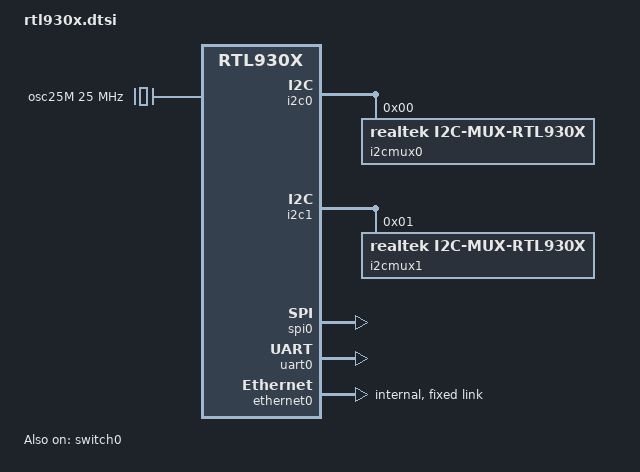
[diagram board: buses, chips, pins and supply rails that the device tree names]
// SPDX-License-Identifier: GPL-2.0-or-later OR MIT

/dts-v1/;

#include <dt-bindings/clock/rtl83xx-clk.h>
#include <dt-bindings/gpio/gpio.h>
#include <dt-bindings/input/input.h>
#include <dt-bindings/leds/common.h>

/ {
	#address-cells = <1>;
	#size-cells = <1>;

	compatible = "realtek,rtl930x-soc";

	ccu: clock-controller {
		compatible = "realtek,rtl930x-clock";
		#clock-cells = <1>;
		clocks = <&osc25M>;
		clock-names = "ref_clk";
		pll-reclock-sram = <&sram0>;
	};

	cpus {
		#address-cells = <1>;
		#size-cells = <0>;

		cpu@0 {
			compatible = "mips,mips34Kc";
			reg = <0>;
			clocks = <&ccu CLK_CPU>;
			operating-points-v2 = <&cpu_opp_table>;
		};

		cpu@1 {
			compatible = "mips,mips34Kc";
			reg = <1>;
			clocks = <&ccu CLK_CPU>;
			operating-points-v2 = <&cpu_opp_table>;
		};
	};

	cpu_opp_table: opp-table-0 {
		compatible = "operating-points-v2";
		opp-shared;

		opp00 {
			opp-hz = /bits/ 64 <625000000>;
		};
		opp01 {
			opp-hz = /bits/ 64 <650000000>;
		};
		opp02 {
			opp-hz = /bits/ 64 <675000000>;
		};
		opp03 {
			opp-hz = /bits/ 64 <700000000>;
		};
		opp04 {
			opp-hz = /bits/ 64 <725000000>;
		};
		opp05 {
			opp-hz = /bits/ 64 <750000000>;
		};
		opp06 {
			opp-hz = /bits/ 64 <775000000>;
		};
		opp07 {
			opp-hz = /bits/ 64 <800000000>;
		};
	};

	aliases {
		serial0 = &uart0;
		serial1 = &uart1;

		led-boot = &status_led;
		led-failsafe = &status_led;
		led-running = &status_led;
		led-upgrade = &status_led;
	};

	chosen {
		bootargs = "earlycon";
		stdout-path = "serial0:115200n8";
	};

	cpuintc: cpuintc {
		compatible = "mti,cpu-interrupt-controller";
		#address-cells = <0>;
		#interrupt-cells = <1>;
		interrupt-controller;
	};

	keys {
		compatible = "gpio-keys";

		reset_button: reset {
			label = "reset";
			linux,code = <KEY_RESTART>;

			status = "disabled";
		};
	};

	leds {
		compatible = "gpio-leds";

		pinctrl-names = "default";
		pinctrl-0 = <&pinmux_disable_sys_led>;

		status_led: led_status {
			color = <LED_COLOR_ID_GREEN>;
			function = LED_FUNCTION_STATUS;
			gpios = <&gpio0 0 GPIO_ACTIVE_HIGH>;
			panic-indicator;

			status = "disabled";
		};
	};

	soc: soc {
		compatible = "simple-bus";
		#address-cells = <1>;
		#size-cells = <1>;
		ranges = <0x0 0x18000000 0x10000>;

		crypto0: crypto@c000 {
			compatible = "realtek,realtek-crypto";
			reg = <0xc000 0x10>;
			interrupt-parent = <&intc>;
			interrupts = <22 3>;
		};

		i2c0: i2c0@1b00036c {
			reg = <0x1b00036c 0x30>;
			compatible = "realtek,rtl930x-i2c";
			#address-cells = <1>;
			#size-cells = <0>;
			scl-pin = <8>;

			status = "disabled";
		};

		i2c1: i2c1@1b000388 {
			reg = <0x1b00036c 0x30>;
			compatible = "realtek,rtl930x-i2c";
			#address-cells = <1>;
			#size-cells = <1>;
			scl-pin = <17>;

			status = "disabled";
		};

		i2cmux0: i2cmux@0 {
			reg = <0>;
			compatible = "realtek,i2c-mux-rtl930x";
			#address-cells = <1>;
			#size-cells = <0>;
			i2c-parent = <&i2c0>;

			i2c0_0: i2c0@0 {
				reg = <0>;
				#address-cells = <1>;
				#size-cells = <0>;

				sda-pin = <9>;
				status = "disabled";
			};

			i2c0_1: i2c0@1 {
				reg = <1>;
				#address-cells = <1>;
				#size-cells = <0>;

				sda-pin = <10>;
				status = "disabled";
			};

			i2c0_2: i2c0@2 {
				reg = <2>;
				#address-cells = <1>;
				#size-cells = <0>;

				sda-pin = <11>;
				status = "disabled";
			};

			i2c0_3: i2c0@3 {
				reg = <3>;
				#address-cells = <1>;
				#size-cells = <0>;

				sda-pin = <12>;
				status = "disabled";
			};

			i2c0_4: i2c0@4 {
				reg = <4>;
				#address-cells = <1>;
				#size-cells = <0>;

				sda-pin = <13>;
				status = "disabled";
			};

			i2c0_5: i2c0@5 {
				reg = <5>;
				#address-cells = <1>;
				#size-cells = <0>;

				sda-pin = <14>;
				status = "disabled";
			};

			i2c0_6: i2c0@6 {
				reg = <6>;
				#address-cells = <1>;
				#size-cells = <0>;

				sda-pin = <15>;
				status = "disabled";
			};

			i2c0_7: i2c0@7 {
				reg = <7>;
				#address-cells = <1>;
				#size-cells = <0>;

				sda-pin = <16>;
				status = "disabled";
			};
		};

		i2cmux1: i2cmux@1 {
			reg = <1>;
			compatible = "realtek,i2c-mux-rtl930x";
			#address-cells = <1>;
			#size-cells = <0>;
			i2c-parent = <&i2c1>;

			i2c1_0: i2c1@0 {
				reg = <0>;
				#address-cells = <1>;
				#size-cells = <0>;

				sda-pin = <9>;
				status = "disabled";
			};

			i2c1_1: i2c1@1 {
				reg = <1>;
				#address-cells = <1>;
				#size-cells = <0>;

				sda-pin = <10>;
				status = "disabled";
			};

			i2c1_2: i2c1@2 {
				reg = <2>;
				#address-cells = <1>;
				#size-cells = <0>;

				sda-pin = <11>;
				status = "disabled";
			};

			i2c1_3: i2c1@3 {
				reg = <3>;
				#address-cells = <1>;
				#size-cells = <0>;

				sda-pin = <12>;
				status = "disabled";
			};

			i2c1_4: i2c1@4 {
				reg = <4>;
				#address-cells = <1>;
				#size-cells = <0>;

				sda-pin = <13>;
				status = "disabled";
			};

			i2c1_5: i2c0@5 {
				reg = <5>;
				#address-cells = <1>;
				#size-cells = <0>;

				sda-pin = <14>;
				status = "disabled";
			};

			i2c1_6: i2c1@6 {
				reg = <6>;
				#address-cells = <1>;
				#size-cells = <0>;

				sda-pin = <15>;
				status = "disabled";
			};

			i2c1_7: i2c1@7 {
				reg = <7>;
				#address-cells = <1>;
				#size-cells = <0>;

				sda-pin = <16>;
				status = "disabled";
			};
		};

		intc: interrupt-controller@3000 {
			compatible = "realtek,rtl9300-intc", "realtek,rtl-intc";
			reg = <0x3000 0x18>, <0x3018 0x18>;
			interrupt-controller;
			#interrupt-cells = <2>;

			interrupt-parent = <&cpuintc>;
			interrupts = <2>, <3>, <4>, <5>, <6>, <7>;
		};

		spi0: spi@1200 {
			compatible = "realtek,rtl8380-spi";
			reg = <0x1200 0x100>;

			#address-cells = <1>;
			#size-cells = <0>;
		};

		timer0: timer@3200 {
			compatible = "realtek,rtl930x-timer", "realtek,otto-timer";
			reg = <0x3200 0x10>, <0x3210 0x10>, <0x3220 0x10>,
			      <0x3230 0x10>, <0x3240 0x10>;

			interrupt-parent = <&intc>;
			interrupts = <7 4>, <8 4>, <9 4>, <10 4>, <11 4>;
			clocks = <&ccu CLK_LXB>;
		};

		uart0: uart@2000 {
			compatible = "ns16550a";
			reg = <0x2000 0x100>;

			clocks = <&ccu CLK_LXB>;

			interrupt-parent = <&intc>;
			interrupts = <30 1>;

			reg-io-width = <1>;
			reg-shift = <2>;
			fifo-size = <1>;
			no-loopback-test;
		};

		uart1: uart@2100 {
			compatible = "ns16550a";
			reg = <0x2100 0x100>;

			clocks = <&ccu CLK_LXB>;

			interrupt-parent = <&intc>;
			interrupts = <31 0>;

			reg-io-width = <1>;
			reg-shift = <2>;
			fifo-size = <1>;
			no-loopback-test;

			status = "disabled";
		};

		watchdog0: watchdog@3260 {
			compatible = "realtek,rtl9300-wdt";
			reg = <0x3260 0xc>;

			realtek,reset-mode = "soc";

			clocks = <&ccu CLK_LXB>;
			timeout-sec = <30>;

			interrupt-parent = <&intc>;
			interrupt-names = "phase1", "phase2";
			interrupts = <5 4>, <6 4>;
		};

		gpio0: gpio-controller@3300 {
			compatible = "realtek,rtl9300-gpio", "realtek,otto-gpio";
			reg = <0x3300 0x1c>, <0x3338 0x8>;

			gpio-controller;
			#gpio-cells = <2>;
			ngpios = <24>;

			interrupt-controller;
			#interrupt-cells = <2>;
			interrupt-parent = <&intc>;
			interrupts = <13 1>;
		};

	};

	pinmux_led: pinmux@1b00cc00 {
		compatible = "pinctrl-single";
		reg = <0x1b00cc00 0x4>;

		pinctrl-single,bit-per-mux;
		pinctrl-single,register-width = <32>;
		pinctrl-single,function-mask = <0x1>;
		#pinctrl-cells = <2>;

		/* enable GPIO 0 */
		pinmux_disable_sys_led: disable_sys_led {
			pinctrl-single,bits = <0x0 0x0 0x1000>;
		};
	};

	ethernet0: ethernet@1b00a300 {
		compatible = "realtek,rtl838x-eth";
		reg = <0x1b00a300 0x100>;

		interrupt-parent = <&intc>;
		interrupts = <24 3>;

		phy-mode = "internal";

		fixed-link {
			speed = <1000>;
			full-duplex;
		};
	};

	osc25M: clk-25M {
		compatible = "fixed-clock";
		#clock-cells = <0>;
		clock-frequency = <25000000>;
		clock-output-names = "ref_clk";
	};

	sram0: sram@9f000000 {
		compatible = "mmio-sram";
		reg = <0x9f000000 0x10000>; /* 64 kiB */
		#address-cells = <1>;
		#size-cells = <1>;
		ranges = <0 0x9f000000 0x10000>;

		pll-reclock-sram@0 {
			reg = <0x0 0x20>; /* 32 bytes */
			pool;
		};
	};

	switch0: switch@1b000000 {
		compatible = "realtek,rtl83xx-switch";
		status = "okay";

		interrupt-parent = <&intc>;
		interrupts = <23 2>;
	};
};
